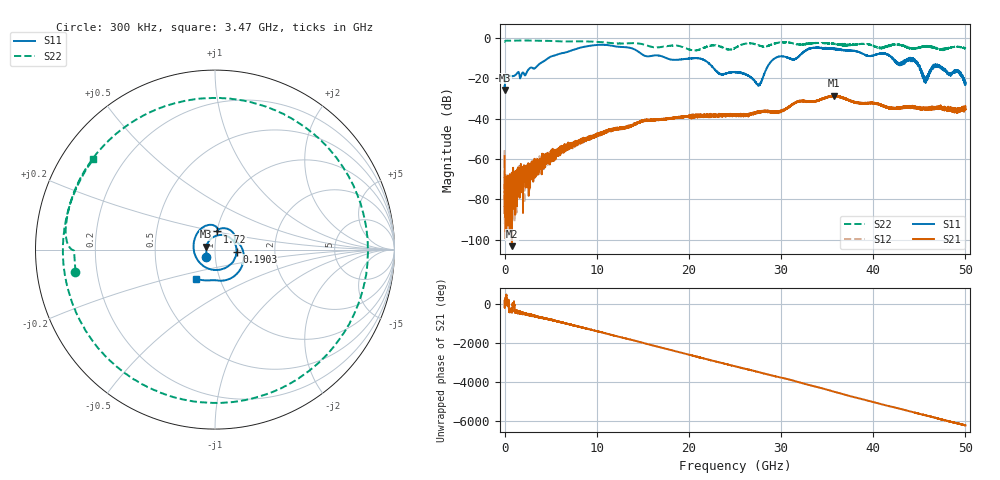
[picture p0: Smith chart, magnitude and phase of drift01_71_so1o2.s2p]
!Created with skrf (http://scikit-rf.org).
# Hz S RI R 50.0
!freq ReS11 ImS11 ReS21 ImS21 ReS12 ImS12 ReS22 ImS22
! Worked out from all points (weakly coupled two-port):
!   10001 points, 300 kHz to 50 GHz, reference 50 ohm
!   highest |S21| = -28.65 dB at 35.73 GHz (marker M1); lowest = -103.2 dB at 790.3 MHz (marker M2)
!   lowest |S11| = -25.8 dB at 5.3 MHz (marker M3), VSWR 1.11, Z = 45.3 + j1.42 ohm
!   |S11| at or under -10 dB: start of sweep to 4.764 GHz; 17.52 GHz to 29.37 GHz (11.85 GHz wide, 50.6 % of centre); 44.01 GHz to end of sweep (the widest 3 of 9)
!   |S22| runs from -6.3 to -1.4 dB; largest |S21 - S12| = 0.0049
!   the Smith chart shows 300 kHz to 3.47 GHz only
!   S11 on the Smith chart (normalised r, x): 300 kHz: 0.91, -0.07; 190.3 MHz: 1.27, -0.03; 1.72 GHz: 1.00, +0.20; 3.47 GHz: 0.77, -0.26
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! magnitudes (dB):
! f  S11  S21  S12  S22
! 300 kHz  -24.1  -58.6  -55.7  -2.1
! 5.3 MHz  -25.8  -74.4  -75.1  -2.1
! 190.3 MHz  -18.3  -72.0  -80.7  -1.4
! 790.3 MHz  -19.0  -103.2  -73.2  -1.5
! 1.72 GHz  -19.9  -67.3  -69.1  -1.4
! 3.47 GHz  -14.3  -63.9  -65.3  -1.5
! 8.335 GHz  -4.8  -51.1  -50.3  -1.8
! 16.67 GHz  -8.7  -40.6  -40.6  -4.8
! 21.22 GHz  -10.3  -38.1  -38.1  -5.7
! 23.38 GHz  -18.0  -37.9  -38.7  -4.3
! 25 GHz  -17.0  -38.3  -38.1  -5.0
! 27.59 GHz  -23.2  -36.9  -36.8  -3.7
! 29.3 GHz  -10.3  -36.6  -36.8  -2.9
! 31.48 GHz  -10.7  -32.3  -32.4  -2.9
! 33.34 GHz  -5.1  -31.7  -31.6  -2.7
! 35.73 GHz  -5.5  -28.6  -28.9  -3.2
! 41.67 GHz  -8.6  -34.5  -34.7  -4.1
! 42.82 GHz  -13.1  -34.7  -35.0  -3.4
! 44.48 GHz  -11.0  -34.5  -34.2  -5.3
! 45.64 GHz  -19.5  -35.1  -34.9  -4.2
! 46.96 GHz  -13.3  -34.8  -34.5  -5.4
! 50 GHz  -22.3  -35.7  -35.4  -5.2
